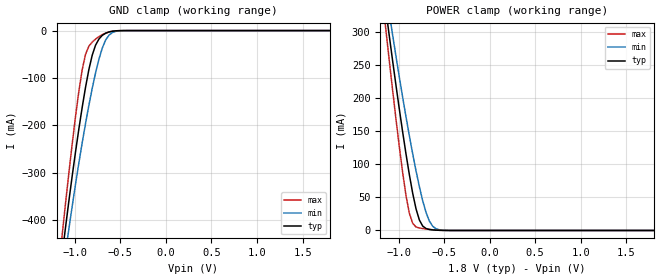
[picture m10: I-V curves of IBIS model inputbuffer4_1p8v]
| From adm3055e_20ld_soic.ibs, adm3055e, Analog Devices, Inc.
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|   Model: inputbuffer4_1p8v
[Model]   inputbuffer4_1p8v
Model_type Input
Vinl=0.63
Vinh=1.17
|   variable   typ   min   max
C_comp   2.057151e-12 1.86794e-12 2.81659e-12
[Temperature Range]   25   105   -40
[Voltage Range]   1.8   1.7   1.9
[Power Clamp Reference] 1.8   1.7   1.9
[GND Clamp Reference]   0   0   0
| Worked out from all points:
|   GND clamp passes 1 mA (typ) near -0.57 V on its own axis
|   POWER clamp passes 1 mA (typ) near -0.63 V on its own axis
[Power_clamp]
| Voltage   I(typ)   I(min)   I(max)
-1.8V     1.134A     1.044A     1.248A
-1.139V   333.9mA    363.3mA    303.7mA
-1.102V   295.1mA    329.4mA    257.8mA
-1.065V   257.2mA    296.3mA    212.9mA
-991.8mV  184.3mA    232.5mA    127.4mA
-918.4mV  116.2mA    172.2mA    53.3mA
-881.6mV  84.89mA    143.6mA    26.26mA
-808.2mV  32.9mA     90.39mA    5.345mA
-734.7mV  6.682mA    45.02mA    2.926mA
-661.2mV  1.516mA    14.19mA    1.58mA
-551mV    276.6uA    983.4uA    309.1uA
1.8V      -29.23pA   -2.186nA   -22.52pA
[GND_clamp]
| Voltage   I(typ)   I(min)   I(max)
-1.8V     -1.697A    -1.551A    -1.895A
-1.139V   -474.8mA   -521.7mA   -433.2mA
-1.102V   -416.9mA   -470.3mA   -366.4mA
-1.065V   -361.3mA   -420.2mA   -302mA
-991.8mV  -256.7mA   -324.9mA   -181.9mA
-918.4mV  -162.1mA   -236.9mA   -82.66mA
-881.6mV  -119.7mA   -196.1mA   -50.1mA
-808.2mV  -51.78mA   -121.8mA   -24.29mA
-734.7mV  -17.86mA   -60.36mA   -12.8mA
-624.5mV  -2.912mA   -9.684mA   -2.998mA
-514.3mV  -187.8uA   -596.3uA   -172.7uA
1.8V      51.5pA     3.167nA    47.22pA
